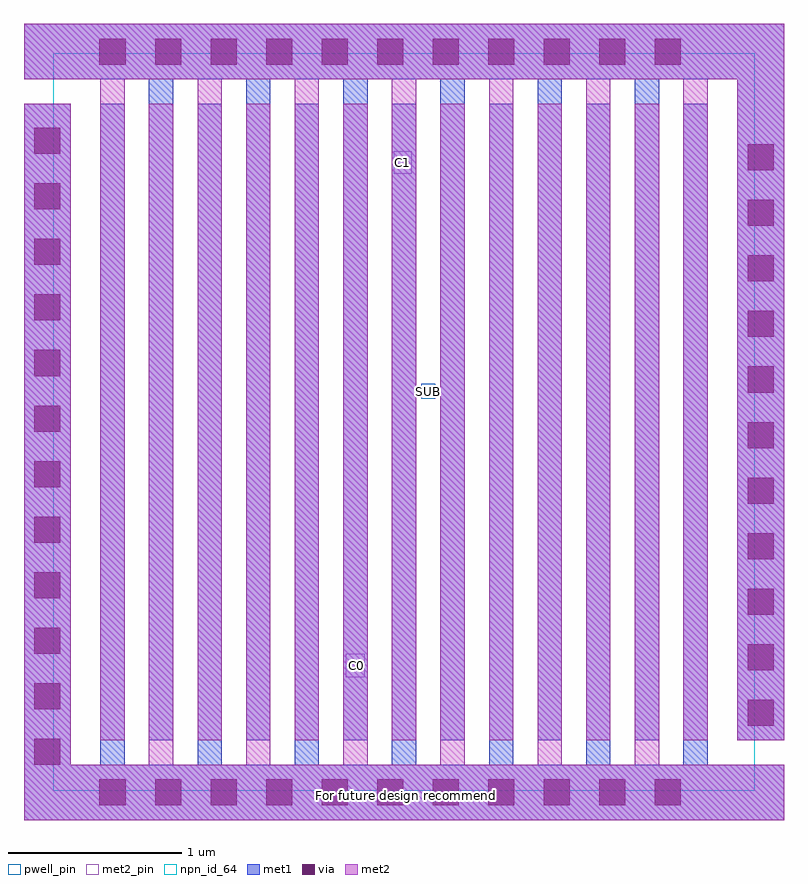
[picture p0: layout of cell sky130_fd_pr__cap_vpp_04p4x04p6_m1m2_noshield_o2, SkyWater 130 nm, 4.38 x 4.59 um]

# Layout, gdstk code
import gdstk
lib = gdstk.Library(unit=1e-6, precision=1e-09)
def R(c, l, rs):  # rectangles x0, y0, x1, y1
    for r in rs: c.add(gdstk.rectangle(r[:2], r[2:], *l))
def A(c, l, x, y, w, h, nx, ny, dx, dy):  # array of equal rectangles
    R(c, l, [(x+i*dx, y+j*dy, x+i*dx+w, y+j*dy+h) for i in range(nx) for j in range(ny)])
met1 = (68, 20)
via = (68, 44)
met2_pin = (69, 16)
met2 = (69, 20)
npn_id_64 = (82, 64)
pwell_pin = (122, 16)

sky130_fd_pr__cap_vpp_04 = lib.new_cell('sky130_fd_pr__cap_vpp_04p4x04p6_m1m2_noshield_o2')
A(sky130_fd_pr__cap_vpp_04, met1, 0, 0.32, 0.14, 3.81, 7, 1, 0.56, 0)
A(sky130_fd_pr__cap_vpp_04, met1, 0.28, 0.46, 0.14, 3.81, 6, 1, 0.56, 0)
R(sky130_fd_pr__cap_vpp_04, met1, [(-0.44,0,3.94,0.32), (-0.44,0.32,-0.17,4.13), (3.67,0.46,3.94,4.27), (-0.44,4.27,3.94,4.59)])
A(sky130_fd_pr__cap_vpp_04, via, -0.38, 0.32, 0.15, 0.15, 1, 12, 0, 0.32)
A(sky130_fd_pr__cap_vpp_04, via, 3.73, 0.545, 0.15, 0.15, 1, 11, 0, 0.32)
A(sky130_fd_pr__cap_vpp_04, via, -0.005, 4.355, 0.15, 0.15, 11, 1, 0.32, 0)
R(sky130_fd_pr__cap_vpp_04, via, [(-0.005,0.085,0.145,0.235), (-0.005,0.085,0.145,0.235), (0.315,0.085,0.465,0.235), (0.315,0.085,0.465,0.235), (0.635,0.085,0.785,0.235), (0.635,0.085,0.785,0.235), (0.955,0.085,1.105,0.235), (0.955,0.085,1.105,0.235), (1.275,0.085,1.425,0.235), (1.275,0.085,1.425,0.235), (1.595,0.085,1.745,0.235), (1.595,0.085,1.745,0.235), (1.915,0.085,2.065,0.235), (1.915,0.085,2.065,0.235), (2.235,0.085,2.385,0.235), (2.235,0.085,2.385,0.235), (2.555,0.085,2.705,0.235), (2.555,0.085,2.705,0.235), (2.875,0.085,3.025,0.235), (2.875,0.085,3.025,0.235), (3.195,0.085,3.345,0.235), (3.195,0.085,3.345,0.235)])
R(sky130_fd_pr__cap_vpp_04, met2_pin, [(1.415,0.825,1.525,0.96), (1.69,3.725,1.795,3.855)])
A(sky130_fd_pr__cap_vpp_04, met2, 0.28, 0.32, 0.14, 3.81, 6, 1, 0.56, 0)
A(sky130_fd_pr__cap_vpp_04, met2, 0, 0.46, 0.14, 3.81, 7, 1, 0.56, 0)
R(sky130_fd_pr__cap_vpp_04, met2, [(-0.44,0,3.94,0.32), (-0.44,0.32,-0.17,4.13), (3.67,0.46,3.94,4.27), (-0.44,4.27,3.94,4.59)])
R(sky130_fd_pr__cap_vpp_04, npn_id_64, [(-0.27,0.17,3.77,4.42)])
R(sky130_fd_pr__cap_vpp_04, pwell_pin, [(1.85,2.43,1.93,2.515)])
sky130_fd_pr__cap_vpp_04.add(gdstk.Label('For future design recommend using caps in MTM-378', (1.775,0.145), layer=83, texttype=44))
sky130_fd_pr__cap_vpp_04.add(gdstk.Label('C0', (1.475,0.893), layer=69, texttype=5))
sky130_fd_pr__cap_vpp_04.add(gdstk.Label('C1', (1.743,3.79), layer=69, texttype=5))
sky130_fd_pr__cap_vpp_04.add(gdstk.Label('SUB', (1.89,2.473), layer=64, texttype=59))

lib.write_gds('sky130_fd_pr__cap_vpp_04p4x04p6_m1m2_noshield_o2.gds')
